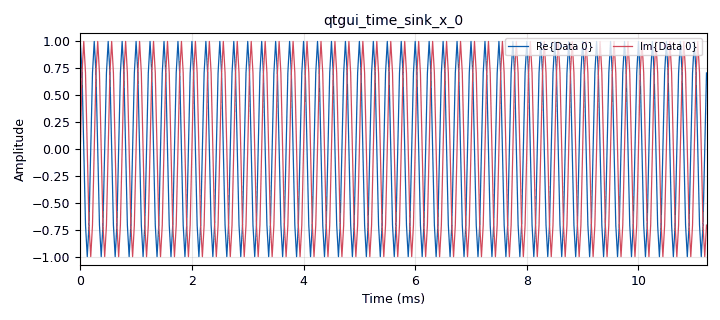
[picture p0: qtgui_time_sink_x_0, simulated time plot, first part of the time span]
options:
  parameters:
    generate_options: qt_gui
    id: course_9
    output_language: python
    title: course_9
  states: {}

blocks:
- name: samp_rate
  id: variable
  parameters:
    value: '32000'
  states: {}
- name: analog_sig_source_x_0
  id: analog_sig_source_x
  parameters:
    amp: '1'
    freq: '2000'
    offset: '0'
    phase: '0'
    samp_rate: samp_rate
    type: complex
    waveform: analog.GR_COS_WAVE
  states: {}
- name: analog_sig_source_x_1
  id: analog_sig_source_x
  parameters:
    amp: '1'
    freq: '1000'
    offset: '0'
    phase: '0'
    samp_rate: samp_rate
    type: complex
    waveform: analog.GR_COS_WAVE
  states: {}
- name: analog_sig_source_x_2
  id: analog_sig_source_x
  parameters:
    amp: '1'
    freq: '3000'
    offset: '0'
    phase: '0'
    samp_rate: samp_rate
    type: complex
    waveform: analog.GR_COS_WAVE
  states: {}
- name: analog_sig_source_x_3
  id: analog_sig_source_x
  parameters:
    amp: '1'
    freq: '4000'
    offset: '0'
    phase: '0'
    samp_rate: samp_rate
    type: complex
    waveform: analog.GR_COS_WAVE
  states: {}
- name: analog_sig_source_x_4
  id: analog_sig_source_x
  parameters:
    amp: '1'
    freq: '5000'
    offset: '0'
    phase: '0'
    samp_rate: samp_rate
    type: complex
    waveform: analog.GR_COS_WAVE
  states: {}
- name: blocks_message_debug_0
  id: blocks_message_debug
  parameters: {}
  states: {}
- name: blocks_throttle_0
  id: blocks_throttle
  parameters:
    samples_per_second: samp_rate
    type: complex
  states: {}
- name: epy_block_0
  id: epy_block
  parameters:
    _source_code: |
      """
      Embedded Python Blocks:

      Each time this file is saved, GRC will instantiate the first class it finds
      to get ports and parameters of your block. The arguments to __init__  will
      be the parameters. All of them are required to have default values!
      """

      import numpy as np
      from gnuradio import gr
      import pmt

      class blk(gr.sync_block):  # other base classes are basic_block, decim_block, interp_block
          """Embedded Python Block example - a simple multiply const"""

          def __init__(self):  # only default arguments here
              """arguments to this function show up as parameters in GRC"""
              gr.sync_block.__init__(
                  self,
                  name='Multiplexer',   # will show up in GRC
                  in_sig=[np.complex64, np.complex64, np.complex64, np.complex64, np.complex64],
                  out_sig=[np.complex64]
              )
              # if an attribute with the same name as a parameter is found,
              # a callback is registered (properties work, too).
              self.selectPortName= 'selectPort'
              self.message_port_register_in(pmt.intern(self.selectPortName))
              self.set_msg_handler(pmt.intern(self.selectPortName), self.handle_msg)
              self.selector = 0
          
          def handle_msg(self, msg):
              self.selector = pmt.to_long(msg)
          
          def work(self, input_items, output_items):
              """example: multiply with constant"""
              if(self.selector == 0):
                  output_items[0][:] = input_items[0]
              elif(self.selector == 1):
                  output_items[0][:] = input_items[1]
              elif(self.selector == 2):
                  output_items[0][:] = input_items[2]
              elif(self.selector == 3):
                  output_items[0][:] = input_items[3]
              else:
                  output_items[0][:] = input_items[4]
              return len(output_items[0])
  states: {}
- name: epy_block_1
  id: epy_block
  parameters:
    Num_Samples_To_Count: '40960'
    _source_code: |
      """
      Embedded Python Blocks:

      Each time this file is saved, GRC will instantiate the first class it finds
      to get ports and parameters of your block. The arguments to __init__  will
      be the parameters. All of them are required to have default values!
      """

      import numpy as np
      from gnuradio import gr
      import pmt

      class blk(gr.sync_block):  # other base classes are basic_block, decim_block, interp_block
          """Embedded Python Block example - a simple multiply const"""

          def __init__(self, Num_Samples_To_Count=128):  # only default arguments here
              """arguments to this function show up as parameters in GRC"""
              gr.sync_block.__init__(
                  self,
                  name='Select Control',   # will show up in GRC
                  in_sig=[np.complex64],
                  out_sig=[np.complex64]
              )
              # if an attribute with the same name as a parameter is found,
              # a callback is registered (properties work, too).
              self.Num_Samples_To_Count = Num_Samples_To_Count
              self.portName = 'messageOutput'
              self.message_port_register_out(pmt.intern(self.portName))
              self.state = 0
              self.counter = 0

          def work(self, input_items, output_items):
              """example: multiply with constant"""
              self.counter = self.counter + len(output_items[0])
              
              if (self.counter > self.Num_Samples_To_Count):
                  PMT_msg = pmt.from_long(self.state)
                  self.message_port_pub(pmt.intern(self.portName), PMT_msg)
                  self.state = (self.state + 1) % 5
                  self.counter = 0
                  
              output_items[0][:]=input_items[0]
              return len(output_items[0])
  states: {}
- name: qtgui_time_sink_x_0
  id: qtgui_time_sink_x
  parameters:
    size: '1024'
    srate: samp_rate
    type: complex
  states: {}
- name: virtual_sink_0
  id: virtual_sink
  parameters:
    stream_id: message
  states: {}
- name: virtual_source_0
  id: virtual_source
  parameters:
    stream_id: message
  states: {}

connections:
- [analog_sig_source_x_0, '0', epy_block_0, '1']
- [analog_sig_source_x_1, '0', epy_block_0, '0']
- [analog_sig_source_x_2, '0', epy_block_0, '2']
- [analog_sig_source_x_3, '0', epy_block_0, '3']
- [analog_sig_source_x_4, '0', epy_block_0, '4']
- [blocks_throttle_0, '0', qtgui_time_sink_x_0, '0']
- [epy_block_0, '0', epy_block_1, '0']
- [epy_block_1, '0', blocks_throttle_0, '0']
- [epy_block_1, messageOutput, blocks_message_debug_0, print]
- [epy_block_1, messageOutput, virtual_sink_0, '0']
- [virtual_source_0, '0', epy_block_0, selectPort]

metadata:
  file_format: 1
